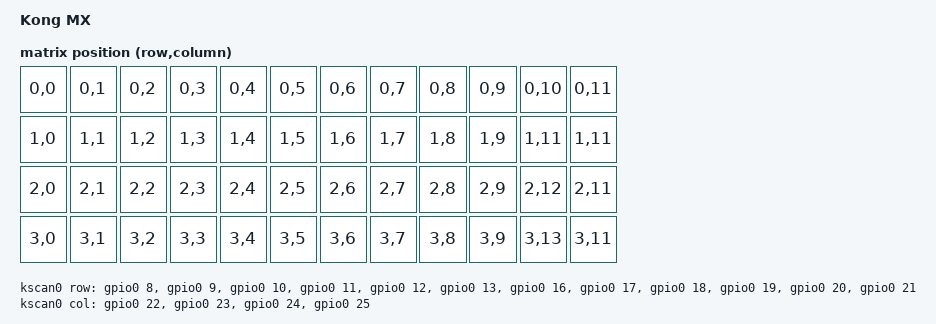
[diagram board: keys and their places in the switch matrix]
/*
 * Copyright (c) 2020 The ZMK Contributors
 *
 * SPDX-License-Identifier: MIT
 */

/dts-v1/;
#include <rpi_pico/rp2040.dtsi>
#include "kong_mx-pinctrl.dtsi"
#include <dt-bindings/zmk/matrix_transform.h>
#include <mem.h>
#include <freq.h>

/ {
	model = "Kong MX";
	compatible = "orthocade,kong_mx";

	chosen {
		zmk,kscan = &kscan0;
        zephyr,sram = &sram0;
		zephyr,flash = &flash0;
		zephyr,code-partition = &code_partition;
		zmk,matrix_transform = &layout_grid_transform;
	};

	aliases {
		watchdog0 = &wdt0;
	};

	kscan0: kscan {
		compatible = "zmk,kscan-gpio-matrix";
		label = "KSCAN";
                diode-direction = "col2row";

		row-gpios
			= <&gpio0 8  (GPIO_ACTIVE_HIGH | GPIO_PULL_DOWN)>
			, <&gpio0 9  (GPIO_ACTIVE_HIGH | GPIO_PULL_DOWN)>
			, <&gpio0 10 (GPIO_ACTIVE_HIGH | GPIO_PULL_DOWN)>
			, <&gpio0 11 (GPIO_ACTIVE_HIGH | GPIO_PULL_DOWN)>
			, <&gpio0 12 (GPIO_ACTIVE_HIGH | GPIO_PULL_DOWN)>
			, <&gpio0 13 (GPIO_ACTIVE_HIGH | GPIO_PULL_DOWN)>
			, <&gpio0 16 (GPIO_ACTIVE_HIGH | GPIO_PULL_DOWN)>
			, <&gpio0 17 (GPIO_ACTIVE_HIGH | GPIO_PULL_DOWN)>
			, <&gpio0 18 (GPIO_ACTIVE_HIGH | GPIO_PULL_DOWN)>
			, <&gpio0 19 (GPIO_ACTIVE_HIGH | GPIO_PULL_DOWN)>
			, <&gpio0 20 (GPIO_ACTIVE_HIGH | GPIO_PULL_DOWN)>
			, <&gpio0 21 (GPIO_ACTIVE_HIGH | GPIO_PULL_DOWN)>
			;
		col-gpios
			= <&gpio0 22 GPIO_ACTIVE_HIGH>
			, <&gpio0 23 GPIO_ACTIVE_HIGH>
			, <&gpio0 24 GPIO_ACTIVE_HIGH>
			, <&gpio0 25 GPIO_ACTIVE_HIGH>
			;
	};

	layout_grid_transform: keymap_transform_0 {
	    compatible = "zmk,matrix-transform";
	    columns = <12>;
	    rows = <4>;
	    map = <
		RC(0,0) RC(0,1) RC(0,2) RC(0,3) RC(0,4) RC(0,5) RC(0,6) RC(0,7) RC(0,8) RC(0,9) RC(0,10) RC(0,11)
		RC(1,0) RC(1,1) RC(1,2) RC(1,3) RC(1,4) RC(1,5) RC(1,6) RC(1,7) RC(1,8) RC(1,9) RC(1,11) RC(1,11)
		RC(2,0) RC(2,1) RC(2,2) RC(2,3) RC(2,4) RC(2,5) RC(2,6) RC(2,7) RC(2,8) RC(2,9) RC(2,12) RC(2,11)
		RC(3,0) RC(3,1) RC(3,2) RC(3,3) RC(3,4) RC(3,5) RC(3,6) RC(3,7) RC(3,8) RC(3,9) RC(3,13) RC(3,11)
		>;
	};

	xtal_clk: xtal-clk {
		compatible = "fixed-clock";
		clock-frequency = <12000000>;
		#clock-cells = <0>;
	};

};


&flash0 {
	reg = <0x10000000 DT_SIZE_M(8)>;

	partitions {
		compatible = "fixed-partitions";
		#address-cells = <1>;
		#size-cells = <1>;

		/* Reserved memory for the second stage bootloader */
		second_stage_bootloader: partition@0 {
			label = "second_stage_bootloader";
			reg = <0x00000000 0x100>;
			read-only;
		};

		/*
		 * Usable flash. Starts at 0x100, after the bootloader. The partition
		 * size is 8MB minus the 0x100 bytes taken by the bootloader.
		 */
		code_partition: partition@100 {
			label = "code";
			reg = <0x100 (DT_SIZE_M(8) - 0x100)>;
			read-only;
		};
	};
};

&uart0 {
	current-speed = <115200>;
	status = "okay";
	pinctrl-0 = <&uart0_default>;
	pinctrl-names = "default";
};

&spi0 {
	status = "okay";
	pinctrl-0 = <&spi0_default>;
	pinctrl-names = "default";
	clock-frequency = <DT_FREQ_M(8)>;
};

&i2c1 {
	status = "okay";
	pinctrl-0 = <&i2c1_default>;
	pinctrl-names = "default";
	clock-frequency = <I2C_BITRATE_FAST>;
};

&gpio0 {
	status = "okay";
};

&wdt0 {
	status = "okay";
};

&adc {
	status = "okay";
	pinctrl-0 = <&adc_default>;
	pinctrl-names = "default";
};

zephyr_udc0: &usbd {
	status = "okay";
};
